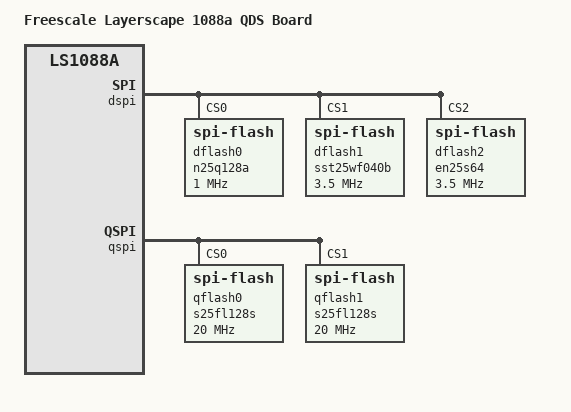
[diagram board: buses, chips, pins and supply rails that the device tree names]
/*
 * Freescale ls1088a QDS board device tree source
 *
 * Copyright 2016 Freescale Semiconductor, Inc.
 *
 * SPDX-License-Identifier:	GPL-2.0+
 */

/dts-v1/;

#include "fsl-ls1088a.dtsi"

/ {
	model = "Freescale Layerscape 1088a QDS Board";
	compatible = "fsl,ls1088a-qds", "fsl,ls1088a";
	aliases {
		duart0 = &qspi;
		spi1 = &dspi;
	};
};

&dspi {
	bus-num = <0>;
	status = "okay";

	dflash0: n25q128a {
		#address-cells = <1>;
		#size-cells = <1>;
		compatible = "spi-flash";
		reg = <0>;
		spi-max-frequency = <1000000>; /* input clock */
	};

	dflash1: sst25wf040b {
		#address-cells = <1>;
		#size-cells = <1>;
		compatible = "spi-flash";
		spi-max-frequency = <3500000>;
		reg = <1>;
	};

	dflash2: en25s64 {
		#address-cells = <1>;
		#size-cells = <1>;
		compatible = "spi-flash";
		spi-max-frequency = <3500000>;
		reg = <2>;
	};
};

&qspi {
	bus-num = <0>;
	status = "okay";

	qflash0: s25fl128s@0 {
		#address-cells = <1>;
		#size-cells = <1>;
		compatible = "spi-flash";
		spi-max-frequency = <20000000>;
		reg = <0>;
	};

	qflash1: s25fl128s@1 {
		#address-cells = <1>;
		#size-cells = <1>;
		compatible = "spi-flash";
		spi-max-frequency = <20000000>;
		reg = <1>;
	};
};
